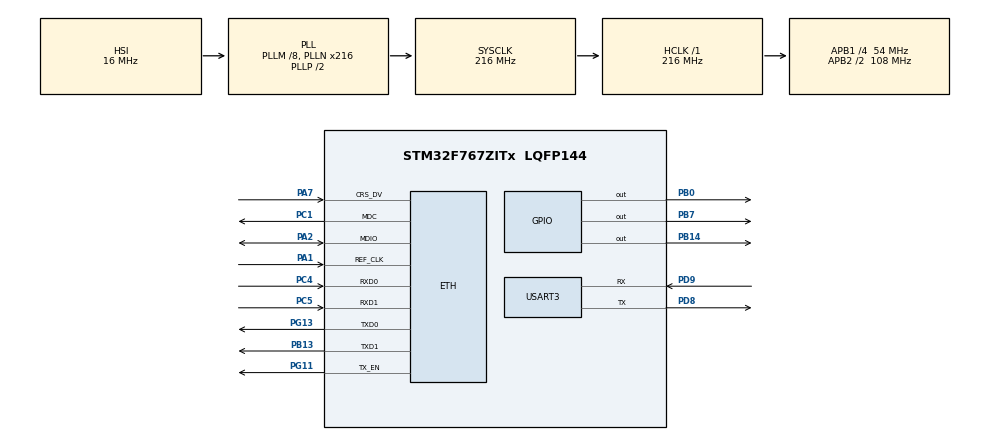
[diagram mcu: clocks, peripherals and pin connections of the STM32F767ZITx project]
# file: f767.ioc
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ETH.MediaInterface=HAL_ETH_RMII_MODE
Mcu.Family=STM32F7
Mcu.Name=STM32F767ZITx
Mcu.Package=LQFP144
NVIC.ETH_IRQn=true\:0\:0\:false\:false\:false\:true\:false\:true
NVIC.PriorityGroup=NVIC_PRIORITYGROUP_4
PA1.Mode=RMII
PA1.Signal=ETH_REF_CLK
PA2.Mode=RMII
PA2.Signal=ETH_MDIO
PA7.Mode=RMII
PA7.Signal=ETH_CRS_DV
PB0.Signal=GPIO_Output
PB13.Mode=RMII
PB13.Signal=ETH_TXD1
PB14.Signal=GPIO_Output
PB7.Signal=GPIO_Output
PC1.Mode=RMII
PC1.Signal=ETH_MDC
PC4.Mode=RMII
PC4.Signal=ETH_RXD0
PC5.Mode=RMII
PC5.Signal=ETH_RXD1
PD8.Mode=Asynchronous
PD8.Signal=USART3_TX
PD9.Mode=Asynchronous
PD9.Signal=USART3_RX
PG11.Mode=RMII
PG11.Signal=ETH_TX_EN
PG13.Mode=RMII
PG13.Signal=ETH_TXD0
ProjectManager.HeapSize=0x200
ProjectManager.StackSize=0x400
ProjectManager.TargetToolchain=STM32CubeIDE
RCC.48MHZClocksFreq_Value=45000000
RCC.AHBFreq_Value=216000000
RCC.APB1CLKDivider=RCC_HCLK_DIV4
RCC.APB1Freq_Value=54000000
RCC.APB1TimFreq_Value=108000000
RCC.APB2CLKDivider=RCC_HCLK_DIV2
RCC.APB2Freq_Value=108000000
RCC.APB2TimFreq_Value=216000000
RCC.CortexFreq_Value=216000000
RCC.HCLKFreq_Value=216000000
RCC.HSE_VALUE=25000000
RCC.HSI_VALUE=16000000
RCC.LSE_VALUE=32768
RCC.PLLM=8
RCC.PLLN=216
RCC.PLLQ=9
RCC.SYSCLKFreq_VALUE=216000000
RCC.SYSCLKSource=RCC_SYSCLKSOURCE_PLLCLK
RCC.USBFreq_Value=48000000
RCC.VCOOutputFreq_Value=432000000
USART3.VirtualMode=VM_ASYNC
USART3.VirtualMode-Asynchronous=VM_ASYNC
VP_RNG_VS_RNG.Mode=RNG_Activate
board=custom

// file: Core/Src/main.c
/* USER CODE BEGIN Header */
/**
  ******************************************************************************
  * @file           : main.c
  * @brief          : Main program body
  ******************************************************************************
  * @attention
  *
  * Copyright (c) 2024 STMicroelectronics.
  * All rights reserved.
  *
  * This software is licensed under terms that can be found in the LICENSE file
  * in the root directory of this software component.
  * If no LICENSE file comes with this software, it is provided AS-IS.
  *
  ******************************************************************************
  */
/* USER CODE END Header */
#include "main.h"
#include "string.h"

/* USER CODE BEGIN Includes */
#include "mongoose_glue.h"
/* USER CODE END Includes */

#if defined ( __ICCARM__ ) /*!< IAR Compiler */
#pragma location=0x2007c000
ETH_DMADescTypeDef  DMARxDscrTab[ETH_RX_DESC_CNT]; /* Ethernet Rx DMA Descriptors */
#pragma location=0x2007c0a0
ETH_DMADescTypeDef  DMATxDscrTab[ETH_TX_DESC_CNT]; /* Ethernet Tx DMA Descriptors */

#elif defined ( __CC_ARM )  /* MDK ARM Compiler */

__attribute__((at(0x2007c000))) ETH_DMADescTypeDef  DMARxDscrTab[ETH_RX_DESC_CNT]; /* Ethernet Rx DMA Descriptors */
__attribute__((at(0x2007c0a0))) ETH_DMADescTypeDef  DMATxDscrTab[ETH_TX_DESC_CNT]; /* Ethernet Tx DMA Descriptors */

#elif defined ( __GNUC__ ) /* GNU Compiler */

ETH_DMADescTypeDef DMARxDscrTab[ETH_RX_DESC_CNT] __attribute__((section(".RxDecripSection"))); /* Ethernet Rx DMA Descriptors */
ETH_DMADescTypeDef DMATxDscrTab[ETH_TX_DESC_CNT] __attribute__((section(".TxDecripSection")));   /* Ethernet Tx DMA Descriptors */
#endif

ETH_TxPacketConfig TxConfig;

ETH_HandleTypeDef heth;

RNG_HandleTypeDef hrng;

UART_HandleTypeDef huart3;

void SystemClock_Config(void);
static void MX_GPIO_Init(void);
static void MX_ETH_Init(void);
static void MX_RNG_Init(void);
static void MX_USART3_UART_Init(void);

/* USER CODE BEGIN 0 */
bool mg_random(void *buf, size_t len) {  // Use on-board RNG
  for (size_t n = 0; n < len; n += sizeof(uint32_t)) {
    uint32_t r;
    HAL_RNG_GenerateRandomNumber(&hrng, &r);
    memcpy((char *) buf + n, &r, n + sizeof(r) > len ? len - n : sizeof(r));
  }
  return true; // TODO(): ensure successful RNG init, then return on false above
}

int _write(int fd, unsigned char *buf, int len) {
  if (fd == 1 || fd == 2) {                     // stdout or stderr ?
    HAL_UART_Transmit(&huart3, buf, len, 999);  // Print to the UART
  }
  return len;
}

uint64_t mg_millis(void) {
  return HAL_GetTick();
}

/* USER CODE END 0 */

int main(void)
{

  /* MCU Configuration--------------------------------------------------------*/

  /* Reset of all peripherals, Initializes the Flash interface and the Systick. */
  HAL_Init();

  /* Configure the system clock */
  SystemClock_Config();

  /* Initialize all configured peripherals */
  MX_GPIO_Init();
  MX_ETH_Init();
  MX_RNG_Init();
  MX_USART3_UART_Init();
  /* USER CODE BEGIN 2 */
  mongoose_init();
  for (;;) {
    mongoose_poll();
  }

  /* USER CODE END 2 */

  /* Infinite loop */
  while (1)
  {

  }
}

void SystemClock_Config(void)
{
  RCC_OscInitTypeDef RCC_OscInitStruct = {0};
  RCC_ClkInitTypeDef RCC_ClkInitStruct = {0};

  /** Configure the main internal regulator output voltage
  */
  __HAL_RCC_PWR_CLK_ENABLE();
  __HAL_PWR_VOLTAGESCALING_CONFIG(PWR_REGULATOR_VOLTAGE_SCALE1);

  /** Initializes the RCC Oscillators according to the specified parameters
  * in the RCC_OscInitTypeDef structure.
  */
  RCC_OscInitStruct.OscillatorType = RCC_OSCILLATORTYPE_HSI;
  RCC_OscInitStruct.HSIState = RCC_HSI_ON;
  RCC_OscInitStruct.HSICalibrationValue = RCC_HSICALIBRATION_DEFAULT;
  RCC_OscInitStruct.PLL.PLLState = RCC_PLL_ON;
  RCC_OscInitStruct.PLL.PLLSource = RCC_PLLSOURCE_HSI;
  RCC_OscInitStruct.PLL.PLLM = 8;
  RCC_OscInitStruct.PLL.PLLN = 216;
  RCC_OscInitStruct.PLL.PLLP = RCC_PLLP_DIV2;
  RCC_OscInitStruct.PLL.PLLQ = 9;
  RCC_OscInitStruct.PLL.PLLR = 2;
  if (HAL_RCC_OscConfig(&RCC_OscInitStruct) != HAL_OK)
  {
    Error_Handler();
  }

  /** Activate the Over-Drive mode
  */
  if (HAL_PWREx_EnableOverDrive() != HAL_OK)
  {
    Error_Handler();
  }

  /** Initializes the CPU, AHB and APB buses clocks
  */
  RCC_ClkInitStruct.ClockType = RCC_CLOCKTYPE_HCLK|RCC_CLOCKTYPE_SYSCLK
                              |RCC_CLOCKTYPE_PCLK1|RCC_CLOCKTYPE_PCLK2;
  RCC_ClkInitStruct.SYSCLKSource = RCC_SYSCLKSOURCE_PLLCLK;
  RCC_ClkInitStruct.AHBCLKDivider = RCC_SYSCLK_DIV1;
  RCC_ClkInitStruct.APB1CLKDivider = RCC_HCLK_DIV4;
  RCC_ClkInitStruct.APB2CLKDivider = RCC_HCLK_DIV2;

  if (HAL_RCC_ClockConfig(&RCC_ClkInitStruct, FLASH_LATENCY_7) != HAL_OK)
  {
    Error_Handler();
  }
}

static void MX_ETH_Init(void)
{

   static uint8_t MACAddr[6];

  heth.Instance = ETH;
  MACAddr[0] = 0x00;
  MACAddr[1] = 0x80;
  MACAddr[2] = 0xE1;
  MACAddr[3] = 0x00;
  MACAddr[4] = 0x00;
  MACAddr[5] = 0x00;
  heth.Init.MACAddr = &MACAddr[0];
  heth.Init.MediaInterface = HAL_ETH_RMII_MODE;
  heth.Init.TxDesc = DMATxDscrTab;
  heth.Init.RxDesc = DMARxDscrTab;
  heth.Init.RxBuffLen = 1524;

  if (HAL_ETH_Init(&heth) != HAL_OK)
  {
    Error_Handler();
  }

  memset(&TxConfig, 0 , sizeof(ETH_TxPacketConfig));
  TxConfig.Attributes = ETH_TX_PACKETS_FEATURES_CSUM | ETH_TX_PACKETS_FEATURES_CRCPAD;
  TxConfig.ChecksumCtrl = ETH_CHECKSUM_IPHDR_PAYLOAD_INSERT_PHDR_CALC;
  TxConfig.CRCPadCtrl = ETH_CRC_PAD_INSERT;

}

static void MX_RNG_Init(void)
{

  hrng.Instance = RNG;
  if (HAL_RNG_Init(&hrng) != HAL_OK)
  {
    Error_Handler();
  }

}

static void MX_USART3_UART_Init(void)
{

  huart3.Instance = USART3;
  huart3.Init.BaudRate = 115200;
  huart3.Init.WordLength = UART_WORDLENGTH_8B;
  huart3.Init.StopBits = UART_STOPBITS_1;
  huart3.Init.Parity = UART_PARITY_NONE;
  huart3.Init.Mode = UART_MODE_TX_RX;
  huart3.Init.HwFlowCtl = UART_HWCONTROL_NONE;
  huart3.Init.OverSampling = UART_OVERSAMPLING_16;
  huart3.Init.OneBitSampling = UART_ONE_BIT_SAMPLE_DISABLE;
  huart3.AdvancedInit.AdvFeatureInit = UART_ADVFEATURE_NO_INIT;
  if (HAL_UART_Init(&huart3) != HAL_OK)
  {
    Error_Handler();
  }

}

static void MX_GPIO_Init(void)
{
  GPIO_InitTypeDef GPIO_InitStruct = {0};

  /* GPIO Ports Clock Enable */
  __HAL_RCC_GPIOC_CLK_ENABLE();
  __HAL_RCC_GPIOA_CLK_ENABLE();
  __HAL_RCC_GPIOB_CLK_ENABLE();
  __HAL_RCC_GPIOD_CLK_ENABLE();
  __HAL_RCC_GPIOG_CLK_ENABLE();

  /*Configure GPIO pin Output Level */
  HAL_GPIO_WritePin(GPIOB, GPIO_PIN_0|GPIO_PIN_14|GPIO_PIN_7, GPIO_PIN_RESET);

  /*Configure GPIO pins : PB0 PB14 PB7 */
  GPIO_InitStruct.Pin = GPIO_PIN_0|GPIO_PIN_14|GPIO_PIN_7;
  GPIO_InitStruct.Mode = GPIO_MODE_OUTPUT_PP;
  GPIO_InitStruct.Pull = GPIO_NOPULL;
  GPIO_InitStruct.Speed = GPIO_SPEED_FREQ_LOW;
  HAL_GPIO_Init(GPIOB, &GPIO_InitStruct);

}

void Error_Handler(void)
{
  __disable_irq();
  while (1)
  {
  }
}
